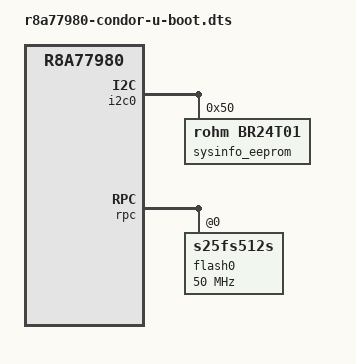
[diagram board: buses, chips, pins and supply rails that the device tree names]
// SPDX-License-Identifier: GPL-2.0
/*
 * Device Tree Source extras for U-Boot for the Condor board
 *
 * Copyright (C) 2019 Marek Vasut <marek.vasut@gmail.com>
 */

#include "r8a77980-condor.dts"
#include "r8a77980-u-boot.dtsi"

/ {
	aliases {
		spi0 = &rpc;
	};

	sysinfo {
		compatible = "renesas,rcar-sysinfo";
		i2c-eeprom = <&sysinfo_eeprom>;
		bootph-all;
	};
};

&i2c0 {
	bootph-all;

	sysinfo_eeprom: eeprom@50 {
		compatible = "rohm,br24t01", "atmel,24c01";
		reg = <0x50>;
		pagesize = <8>;
		bootph-all;
	};
};

&rpc {
	num-cs = <1>;
	status = "okay";
	spi-max-frequency = <50000000>;
	#address-cells = <1>;
	#size-cells = <0>;

	flash0: spi-flash@0 {
		#address-cells = <1>;
		#size-cells = <1>;
		compatible = "s25fs512s", "jedec,spi-nor";
		m25p,fast-read;
		spi-max-frequency = <50000000>;
		spi-tx-bus-width = <1>;
		spi-rx-bus-width = <1>;
		reg = <0>;
		status = "okay";
	};
};
